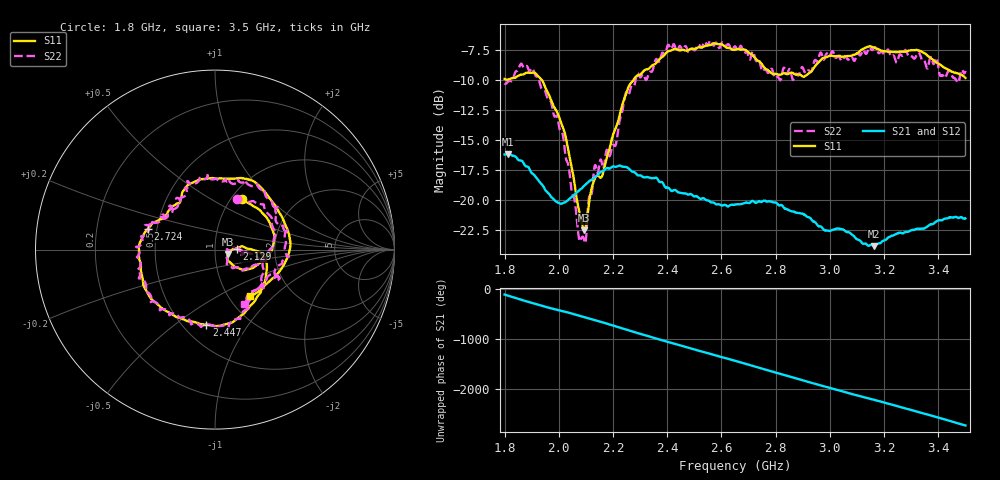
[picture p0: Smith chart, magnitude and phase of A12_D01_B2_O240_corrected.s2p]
! Created with skrf 1.9.0 (http://scikit-rf.org).
# Hz S RI R 50.0
!freq ReS11 ImS11 ReS21 ImS21 ReS12 ImS12 ReS22 ImS22
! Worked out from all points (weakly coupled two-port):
!   1601 points, 1.8 GHz to 3.5 GHz, reference 50 ohm
!   highest |S21| = -16.15 dB at 1.812 GHz (marker M1); lowest = -23.8 dB at 3.163 GHz (marker M2)
!   lowest |S11| = -22.5 dB at 2.093 GHz (marker M3), VSWR 1.16, Z = 57.6 - j2.77 ohm
!   |S11| at or under -10 dB: 1.937 GHz to 2.275 GHz (337.6 MHz wide, 16 % of centre)
!   |S22| runs from -23.6 to -6.7 dB; largest |S21 - S12| = 0.0031
!   S11 on the Smith chart (normalised r, x): 1.8 GHz: 1.13, +0.70; 2.129 GHz: 1.27, +0.01; 2.447 GHz: 0.65, -0.66; 2.724 GHz: 0.45, +0.12; 3.5 GHz: 1.26, -0.72
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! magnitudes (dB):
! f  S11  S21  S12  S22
! 1.8 GHz  -9.9  -16.2  -16.2  -10.3
! 1.812 GHz  -10.0  -16.1  -16.2  -10.1
! 1.901 GHz  -9.4  -17.7  -17.7  -9.0
! 1.968 GHz  -11.5  -19.6  -19.6  -11.7
! 2.022 GHz  -14.4  -20.2  -20.2  -15.9
! 2.084 GHz  -21.8  -19.0  -19.0  -23.1
! 2.093 GHz  -22.5  -18.8  -18.9  -23.3
! 2.129 GHz  -18.4  -18.1  -18.2  -17.6
! 2.16 GHz  -18.0  -17.6  -17.5  -17.1
! 2.208 GHz  -14.1  -17.2  -17.2  -15.5
! 2.26 GHz  -10.4  -17.4  -17.4  -11.1
! 2.367 GHz  -8.4  -18.4  -18.3  -8.5
! 2.447 GHz  -7.5  -19.4  -19.4  -7.2
! 2.65 GHz  -7.5  -20.4  -20.3  -7.2
! 2.724 GHz  -8.2  -20.2  -20.2  -8.2
! 2.812 GHz  -9.5  -20.4  -20.3  -9.8
! 2.934 GHz  -9.2  -21.7  -21.6  -9.2
! 3.163 GHz  -7.3  -23.8  -23.8  -7.3
! 3.217 GHz  -7.6  -23.1  -23.1  -7.6
! 3.328 GHz  -7.5  -22.4  -22.4  -7.7
! 3.417 GHz  -8.9  -21.6  -21.6  -9.6
! 3.5 GHz  -9.8  -21.5  -21.5  -9.2
